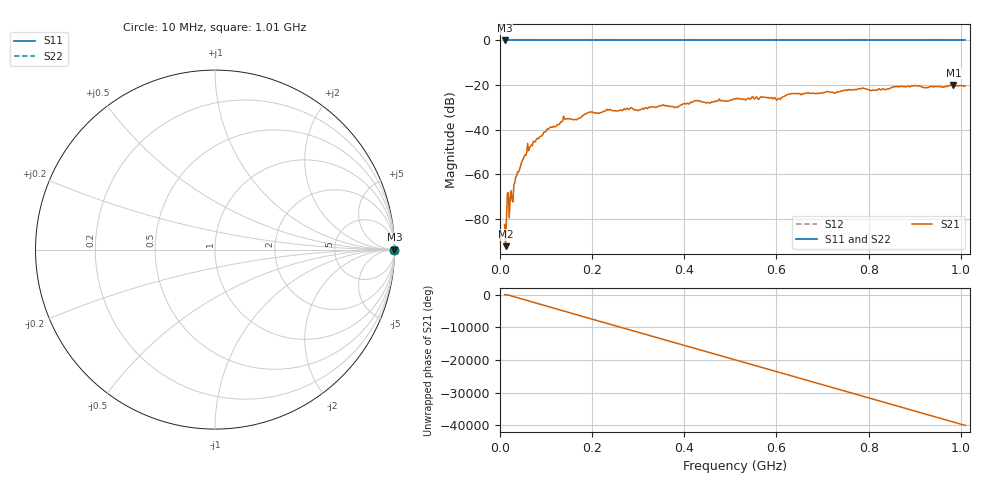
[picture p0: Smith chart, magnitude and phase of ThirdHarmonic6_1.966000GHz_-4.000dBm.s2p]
! 8/16/2025 11:39:13 PM
! C:\ANRITSUVNA\TEMP\TEMP.S2P
! CHANNEL.1
! TR.MEASUREMENT
! RAW.DATA
! RF.CORRECTION.OFF
! AVERAGING.OFF
! IF.BANDWIDTH: 5KHZ
! SWEEPTYPE:  FREQ.SWEEP(Linear)
! Reference Plane Port Info
! PORT:  PORT1  PORT2
! DISTANCE:  0  m  0  m
! TIME:  0  s  0  s
! PHASE.OFFSET:  0  deg.  0  deg.
! LOSS:  0  dB  0  dB
! REF.LOSS:  0  dB  0  dB
! REF.FREQ:  0  Hz  0  Hz
! Power Info
! POWER:  -20  dBm  -20  dBm
! EFF.POWER:  -20  dBm  -20  dBm
! SOURCE.ATTEN:  0  dB  0  dB
! TEST.ATTEN:  0  dB  0  dB
# GHZ S RI R 50.0
! FREQ.GHZ  S11RE  S11IM  S21RE  S21IM  S12RE  S12IM  S22RE  S22IM
!; PortSelection: Port_12
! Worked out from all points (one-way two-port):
!   501 points, 10 MHz to 1.01 GHz, reference 50 ohm
!   highest |S21| = -20.03 dB at 984 MHz (marker M1); lowest = -92.4 dB at 12 MHz (marker M2)
!   lowest |S11| = 0.0 dB at 10 MHz (marker M3)
!   |S11| at or under -10 dB: nowhere
!   |S22| runs from 0.0 to 0.0 dB; largest |S21 - S12| = 1.1
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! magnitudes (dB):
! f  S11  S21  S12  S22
! 10 MHz  0.0  -82.6  0.0  0.0
! 12 MHz  0.0  -92.4  0.0  0.0
! 20 MHz  0.0  -79.7  0.0  0.0
! 24 MHz  0.0  -67.4  0.0  0.0
! 36 MHz  0.0  -60.8  0.0  0.0
! 56 MHz  0.0  -51.6  0.0  0.0
! 64 MHz  0.0  -48.3  0.0  0.0
! 106 MHz  0.0  -39.6  0.0  0.0
! 140 MHz  0.0  -35.2  0.0  0.0
! 178 MHz  0.0  -33.9  0.0  0.0
! 234 MHz  0.0  -31.4  0.0  0.0
! 344 MHz  0.0  -29.7  0.0  0.0
! 382 MHz  0.0  -30.0  0.0  0.0
! 424 MHz  0.0  -27.1  0.0  0.0
! 452 MHz  0.0  -27.9  0.0  0.0
! 510 MHz  0.0  -26.3  0.0  0.0
! 604 MHz  0.0  -26.1  0.0  0.0
! 630 MHz  0.0  -24.0  0.0  0.0
! 678 MHz  0.0  -23.8  0.0  0.0
! 844 MHz  0.0  -21.8  0.0  0.0
! 984 MHz  0.0  -20.0  0.0  0.0
! 1.01 GHz  0.0  -20.4  0.0  0.0
